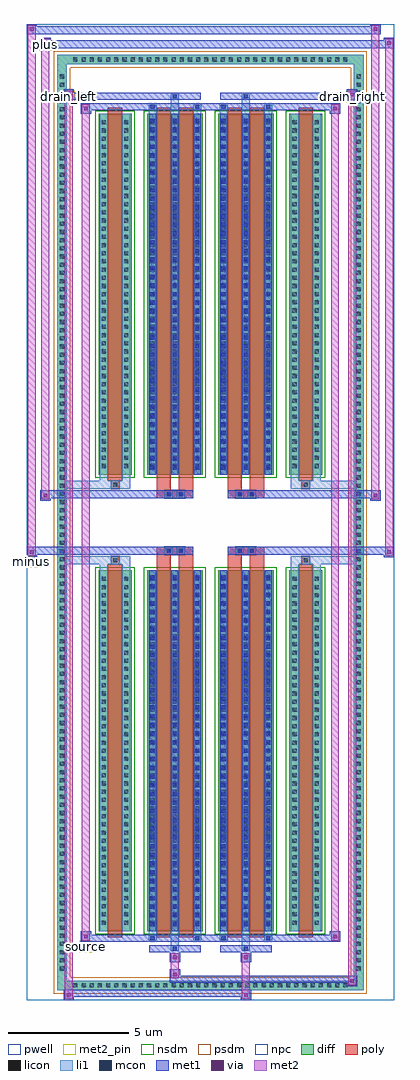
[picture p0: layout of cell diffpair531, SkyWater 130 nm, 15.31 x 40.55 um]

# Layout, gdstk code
import gdstk
lib = gdstk.Library(unit=1e-6, precision=5e-09)
def R(c, l, rs):  # rectangles x0, y0, x1, y1
    for r in rs: c.add(gdstk.rectangle(r[:2], r[2:], *l))
def A(c, l, x, y, w, h, nx, ny, dx, dy):  # array of equal rectangles
    R(c, l, [(x+i*dx, y+j*dy, x+i*dx+w, y+j*dy+h) for i in range(nx) for j in range(ny)])
def P(c, l, *ps):  # polygons
    for p in ps: c.add(gdstk.Polygon(p, *l))
pwell = (64, 44)
diff = (65, 20)
poly = (66, 20)
licon = (66, 44)
li1 = (67, 20)
mcon = (67, 44)
met1 = (68, 20)
via = (68, 44)
met2_pin = (69, 16)
met2 = (69, 20)
nsdm = (93, 44)
psdm = (94, 20)
npc = (95, 20)

diffpair531 = lib.new_cell('diffpair531')
R(diffpair531, pwell, [(-7.64,-19.84,7.64,20.71), (-4.96,-18.03,-0.01,-0.805), (0.01,-18.03,4.96,-0.805), (-4.96,0.805,-0.01,18.03), (0.01,0.805,4.96,18.03)])
A(diffpair531, diff, -5.815, -19.44, 0.41, 0.41, 34, 2, 0.34, 38.47)
A(diffpair531, diff, -6.37, -18.735, 0.41, 0.41, 1, 110, 0, 0.34)
A(diffpair531, diff, 5.96, -18.735, 0.41, 0.41, 1, 110, 0, 0.34)
R(diffpair531, diff, [(-5.815,-19.44,5.815,-19.03), (-6.37,-18.735,-5.96,18.735), (5.96,-18.735,6.37,18.735), (-4.65,-16.985,-3.27,-1.985), (-2.63,-16.985,-0.32,-1.985), (0.32,-16.985,2.63,-1.985), (3.27,-16.985,4.65,-1.985), (-4.65,1.985,-3.27,16.985), (-2.63,1.985,-0.32,16.985), (0.32,1.985,2.63,16.985), (3.27,1.985,4.65,16.985), (-5.815,19.03,5.815,19.44)])
P(diffpair531, diff, [(6.37,19.44),(-6.37,19.44),(-6.37,-19.03),(-5.96,-19.03),(-5.96,19.03),(5.96,19.03),(5.96,-19.03),(-5.96,-19.03),(-6.37,-19.03),(-6.37,-19.44),(6.37,-19.44)])
R(diffpair531, poly, [(-4.26,-17.235,-3.66,-1.735), (-2.24,-17.235,-1.64,-1.735), (-1.31,-17.235,-0.71,-1.735), (0.71,-17.235,1.31,-1.735), (1.64,-17.235,2.24,-1.735), (3.66,-17.235,4.26,-1.735), (-4.125,-1.735,-3.795,-1.405), (-4.125,-1.735,-3.795,-1.405), (-2.24,-1.735,-1.64,-1.335), (-1.31,-1.735,-0.71,-1.335), (0.71,-1.735,1.31,-1.335), (1.64,-1.735,2.24,-1.335), (3.795,-1.735,4.125,-1.405), (3.795,-1.735,4.125,-1.405), (-2.24,-1.335,-0.71,-1.005), (-1.89,-1.335,-1.56,-1.005), (-1.39,-1.335,-1.06,-1.005), (0.71,-1.335,2.24,-1.005), (1.06,-1.335,1.39,-1.005), (1.56,-1.335,1.89,-1.005), (-2.24,1.005,-0.71,1.335), (-1.89,1.005,-1.56,1.335), (-1.39,1.005,-1.06,1.335), (0.71,1.005,2.24,1.335), (1.06,1.005,1.39,1.335), (1.56,1.005,1.89,1.335), (-2.24,1.335,-1.64,1.735), (-1.31,1.335,-0.71,1.735), (0.71,1.335,1.31,1.735), (1.64,1.335,2.24,1.735), (-4.125,1.405,-3.795,1.735), (-4.125,1.405,-3.795,1.735), (3.795,1.405,4.125,1.735), (3.795,1.405,4.125,1.735), (-4.26,1.735,-3.66,17.235), (-2.24,1.735,-1.64,17.235), (-1.31,1.735,-0.71,17.235), (0.71,1.735,1.31,17.235), (1.64,1.735,2.24,17.235), (3.66,1.735,4.26,17.235)])
A(diffpair531, licon, -5.695, -19.32, 0.17, 0.17, 34, 2, 0.34, 38.47)
A(diffpair531, licon, -6.25, -18.615, 0.17, 0.17, 1, 110, 0, 0.34)
A(diffpair531, licon, 6.08, -18.615, 0.17, 0.17, 1, 110, 0, 0.34)
A(diffpair531, licon, -4.51, -16.71, 0.17, 0.17, 1, 43, 0, 0.34)
A(diffpair531, licon, -3.58, -16.71, 0.17, 0.17, 1, 43, 0, 0.34)
A(diffpair531, licon, -2.49, -16.71, 0.17, 0.17, 3, 43, 0.93, 0.34)
A(diffpair531, licon, 0.46, -16.71, 0.17, 0.17, 3, 43, 0.93, 0.34)
A(diffpair531, licon, 3.41, -16.71, 0.17, 0.17, 1, 43, 0, 0.34)
A(diffpair531, licon, 4.34, -16.71, 0.17, 0.17, 1, 43, 0, 0.34)
A(diffpair531, licon, -4.51, 2.26, 0.17, 0.17, 1, 43, 0, 0.34)
A(diffpair531, licon, -3.58, 2.26, 0.17, 0.17, 1, 43, 0, 0.34)
A(diffpair531, licon, -2.49, 2.26, 0.17, 0.17, 3, 43, 0.93, 0.34)
A(diffpair531, licon, 0.46, 2.26, 0.17, 0.17, 3, 43, 0.93, 0.34)
A(diffpair531, licon, 3.41, 2.26, 0.17, 0.17, 1, 43, 0, 0.34)
A(diffpair531, licon, 4.34, 2.26, 0.17, 0.17, 1, 43, 0, 0.34)
R(diffpair531, licon, [(-4.045,-1.655,-3.875,-1.485), (3.875,-1.655,4.045,-1.485), (-1.81,-1.255,-1.64,-1.085), (-1.31,-1.255,-1.14,-1.085), (1.14,-1.255,1.31,-1.085), (1.64,-1.255,1.81,-1.085), (-1.81,1.085,-1.64,1.255), (-1.31,1.085,-1.14,1.255), (1.14,1.085,1.31,1.255), (1.64,1.085,1.81,1.255), (-4.045,1.485,-3.875,1.655), (3.875,1.485,4.045,1.655)])
A(diffpair531, li1, -5.775, -19.4, 0.33, 0.33, 34, 2, 0.34, 38.47)
A(diffpair531, li1, -6.33, -18.695, 0.33, 0.33, 1, 110, 0, 0.34)
A(diffpair531, li1, 6, -18.695, 0.33, 0.33, 1, 110, 0, 0.34)
A(diffpair531, li1, -2.57, -16.985, 0.33, 15, 3, 2, 0.93, 18.97)
A(diffpair531, li1, 0.38, -16.985, 0.33, 15, 3, 2, 0.93, 18.97)
A(diffpair531, li1, -4.59, -16.79, 0.33, 0.33, 1, 43, 0, 0.34)
A(diffpair531, li1, -3.66, -16.79, 0.33, 0.33, 1, 43, 0, 0.34)
A(diffpair531, li1, -2.57, -16.79, 0.33, 0.33, 3, 43, 0.93, 0.34)
A(diffpair531, li1, 0.38, -16.79, 0.33, 0.33, 3, 43, 0.93, 0.34)
A(diffpair531, li1, 3.33, -16.79, 0.33, 0.33, 1, 43, 0, 0.34)
A(diffpair531, li1, 4.26, -16.79, 0.33, 0.33, 1, 43, 0, 0.34)
A(diffpair531, li1, -2.49, -16.77, 0.17, 0.17, 3, 41, 0.93, 0.36)
A(diffpair531, li1, -2.49, -16.77, 0.17, 14.57, 3, 2, 0.93, 18.97)
A(diffpair531, li1, 0.46, -16.77, 0.17, 0.17, 3, 41, 0.93, 0.36)
A(diffpair531, li1, 0.46, -16.77, 0.17, 14.57, 3, 2, 0.93, 18.97)
A(diffpair531, li1, -4.59, 2.18, 0.33, 0.33, 1, 43, 0, 0.34)
A(diffpair531, li1, -3.66, 2.18, 0.33, 0.33, 1, 43, 0, 0.34)
A(diffpair531, li1, -2.57, 2.18, 0.33, 0.33, 3, 43, 0.93, 0.34)
A(diffpair531, li1, 0.38, 2.18, 0.33, 0.33, 3, 43, 0.93, 0.34)
A(diffpair531, li1, 3.33, 2.18, 0.33, 0.33, 1, 43, 0, 0.34)
A(diffpair531, li1, 4.26, 2.18, 0.33, 0.33, 1, 43, 0, 0.34)
A(diffpair531, li1, -2.49, 2.2, 0.17, 0.17, 3, 41, 0.93, 0.36)
A(diffpair531, li1, 0.46, 2.2, 0.17, 0.17, 3, 41, 0.93, 0.36)
R(diffpair531, li1, [(-6.37,-19.44,-5.96,-19.03), (-6.37,-19.44,-5.96,-19.03), (-5.96,-19.44,5.96,-19.03), (5.96,-19.44,6.37,-19.03), (5.96,-19.44,6.37,-19.03), (-6.37,-19.03,-5.96,19.03), (5.96,-19.03,6.37,19.03), (-1.64,-17.79,-1.31,-16.985), (-1.56,-17.79,-1.39,-17.62), (1.31,-17.79,1.64,-16.985), (1.39,-17.79,1.56,-17.62), (-2.57,-17.36,-2.24,-16.985), (-2.49,-17.36,-2.32,-17.19), (-0.71,-17.36,-0.38,-16.985), (-0.63,-17.36,-0.46,-17.19), (0.38,-17.36,0.71,-16.985), (0.46,-17.36,0.63,-17.19), (2.24,-17.36,2.57,-16.985), (2.32,-17.36,2.49,-17.19), (-4.59,-16.985,-4.26,-1.985), (-3.66,-16.985,-3.33,-1.985), (3.33,-16.985,3.66,-1.985), (4.26,-16.985,4.59,-1.985), (-4.59,-1.985,-4.26,-1.405), (-3.66,-1.985,-3.33,-1.405), (3.33,-1.985,3.66,-1.405), (4.26,-1.985,4.59,-1.405), (-6.37,-1.735,-4.125,-1.405), (-4.59,-1.735,-4.125,-1.405), (-4.125,-1.735,-3.795,-1.405), (-3.795,-1.735,-3.33,-1.405), (3.33,-1.735,3.795,-1.405), (3.795,-1.735,4.125,-1.405), (3.795,-1.735,6.37,-1.405), (4.125,-1.735,4.59,-1.405), (-1.89,-1.335,-1.56,-1.005), (-1.39,-1.335,-1.06,-1.005), (1.06,-1.335,1.39,-1.005), (1.56,-1.335,1.89,-1.005), (-1.89,1.005,-1.56,1.335), (-1.39,1.005,-1.06,1.335), (1.06,1.005,1.39,1.335), (1.56,1.005,1.89,1.335), (-6.37,1.405,-4.125,1.735), (-4.59,1.405,-4.125,1.735), (-4.59,1.405,-4.26,1.985), (-4.125,1.405,-3.795,1.735), (-3.795,1.405,-3.33,1.735), (-3.66,1.405,-3.33,1.985), (3.33,1.405,3.795,1.735), (3.33,1.405,3.66,1.985), (3.795,1.405,4.125,1.735), (3.795,1.405,6.37,1.735), (4.125,1.405,4.59,1.735), (4.26,1.405,4.59,1.985), (-4.59,1.985,-4.26,16.985), (-3.66,1.985,-3.33,16.985), (3.33,1.985,3.66,16.985), (4.26,1.985,4.59,16.985), (-2.57,16.985,-2.24,17.36), (-1.64,16.985,-1.31,17.79), (-0.71,16.985,-0.38,17.36), (0.38,16.985,0.71,17.36), (1.31,16.985,1.64,17.79), (2.24,16.985,2.57,17.36), (-2.49,17.19,-2.32,17.36), (-0.63,17.19,-0.46,17.36), (0.46,17.19,0.63,17.36), (2.32,17.19,2.49,17.36), (-1.56,17.62,-1.39,17.79), (1.39,17.62,1.56,17.79), (-6.37,19.03,-5.96,19.44), (-6.37,19.03,-5.96,19.44), (-5.96,19.03,5.96,19.44), (5.96,19.03,6.37,19.44), (5.96,19.03,6.37,19.44)])
A(diffpair531, mcon, -2.49, -16.77, 0.17, 0.17, 3, 41, 0.93, 0.36)
A(diffpair531, mcon, 0.46, -16.77, 0.17, 0.17, 3, 41, 0.93, 0.36)
A(diffpair531, mcon, -2.49, 2.2, 0.17, 0.17, 3, 41, 0.93, 0.36)
A(diffpair531, mcon, 0.46, 2.2, 0.17, 0.17, 3, 41, 0.93, 0.36)
R(diffpair531, mcon, [(-1.56,-17.79,-1.39,-17.62), (1.39,-17.79,1.56,-17.62), (-2.49,-17.36,-2.32,-17.19), (-0.63,-17.36,-0.46,-17.19), (0.46,-17.36,0.63,-17.19), (2.32,-17.36,2.49,-17.19), (-1.81,-1.255,-1.64,-1.085), (-1.31,-1.255,-1.14,-1.085), (1.14,-1.255,1.31,-1.085), (1.64,-1.255,1.81,-1.085), (-1.81,1.085,-1.64,1.255), (-1.31,1.085,-1.14,1.255), (1.14,1.085,1.31,1.255), (1.64,1.085,1.81,1.255), (-2.49,17.19,-2.32,17.36), (-0.63,17.19,-0.46,17.36), (0.46,17.19,0.63,17.36), (2.32,17.19,2.49,17.36), (-1.56,17.62,-1.39,17.79), (1.39,17.62,1.56,17.79)])
A(diffpair531, met1, -2.55, -16.985, 0.29, 15, 3, 2, 0.93, 18.97)
A(diffpair531, met1, 0.4, -16.985, 0.29, 15, 3, 2, 0.93, 18.97)
A(diffpair531, met1, -2.55, -16.83, 0.29, 0.29, 3, 41, 0.93, 0.36)
A(diffpair531, met1, 0.4, -16.83, 0.29, 0.29, 3, 41, 0.93, 0.36)
A(diffpair531, met1, -2.55, 2.14, 0.29, 0.29, 3, 41, 0.93, 0.36)
A(diffpair531, met1, 0.4, 2.14, 0.29, 0.29, 3, 41, 0.93, 0.36)
R(diffpair531, met1, [(-6.1,-19.84,-5.67,-19.41), (1.26,-19.84,1.69,-19.41), (-6.1,-19.7,1.69,-19.41), (5.67,-19.27,6.1,-18.84), (-1.69,-19.13,6.1,-18.84), (-1.69,-18.99,-1.26,-18.56), (-1.69,-18.28,-1.26,-17.85), (1.26,-18.28,1.69,-17.85), (-2.55,-17.85,-0.4,-17.56), (-1.62,-17.85,-1.33,-17.56), (0.4,-17.85,2.55,-17.56), (1.33,-17.85,1.62,-17.56), (-5.39,-17.42,-4.96,-16.99), (-5.39,-17.42,-2.55,-17.13), (-2.55,-17.42,-2.26,-17.13), (-2.55,-17.42,-0.4,-17.13), (-0.69,-17.42,-0.4,-17.13), (-0.4,-17.42,0.4,-17.13), (0.4,-17.42,0.69,-17.13), (0.4,-17.42,2.55,-17.13), (2.26,-17.42,2.55,-17.13), (2.55,-17.42,5.39,-17.13), (4.96,-17.42,5.39,-16.99), (-7.64,-1.435,-7.21,-1.005), (7.21,-1.435,7.64,-1.005), (-7.64,-1.335,-0.71,-1.005), (-2.24,-1.335,-0.71,-1.005), (0.71,-1.335,2.24,-1.005), (0.71,-1.335,7.64,-1.005), (-1.87,-1.315,-1.58,-1.025), (-1.37,-1.315,-1.08,-1.025), (1.08,-1.315,1.37,-1.025), (1.58,-1.315,1.87,-1.025), (-7.07,0.905,-6.64,1.335), (6.64,0.905,7.07,1.335), (-7.07,1.005,-2.24,1.335), (-2.24,1.005,-0.71,1.335), (0.71,1.005,2.24,1.335), (2.24,1.005,7.07,1.335), (-1.87,1.025,-1.58,1.315), (-1.37,1.025,-1.08,1.315), (1.08,1.025,1.37,1.315), (1.58,1.025,1.87,1.315), (-5.39,16.99,-4.96,17.42), (4.96,16.99,5.39,17.42), (-5.39,17.13,-2.55,17.42), (-2.55,17.13,-2.26,17.42), (-2.55,17.13,-0.4,17.42), (-0.69,17.13,-0.4,17.42), (-0.4,17.13,0.4,17.42), (0.4,17.13,0.69,17.42), (0.4,17.13,2.55,17.42), (2.26,17.13,2.55,17.42), (2.55,17.13,5.39,17.42), (-6.1,17.56,-5.67,17.99), (-6.1,17.56,-2.55,17.85), (-2.55,17.56,-0.4,17.85), (-1.62,17.56,-1.33,17.85), (0.4,17.56,2.55,17.85), (1.33,17.56,1.62,17.85), (2.55,17.56,6.1,17.85), (5.67,17.56,6.1,17.99), (-7.07,19.71,-6.64,20.14), (-7.07,19.71,-4.96,20.04), (-4.96,19.71,4.96,20.04), (4.96,19.71,7.64,20.04), (7.21,19.71,7.64,20.14), (-7.64,20.28,-7.21,20.71), (-7.64,20.28,-4.96,20.61), (-4.96,20.28,4.96,20.61), (4.96,20.28,7.07,20.61), (6.64,20.28,7.07,20.71)])
R(diffpair531, via, [(-5.96,-19.7,-5.81,-19.55), (1.4,-19.7,1.55,-19.55), (5.81,-19.13,5.96,-18.98), (-1.55,-18.85,-1.4,-18.7), (-1.55,-18.14,-1.4,-17.99), (1.4,-18.14,1.55,-17.99), (-5.25,-17.28,-5.1,-17.13), (5.1,-17.28,5.25,-17.13), (-7.5,-1.295,-7.35,-1.145), (7.35,-1.295,7.5,-1.145), (-6.93,1.045,-6.78,1.195), (6.78,1.045,6.93,1.195), (-5.25,17.13,-5.1,17.28), (5.1,17.13,5.25,17.28), (-5.96,17.7,-5.81,17.85), (5.81,17.7,5.96,17.85), (-6.93,19.85,-6.78,20), (7.35,19.85,7.5,20), (-7.5,20.42,-7.35,20.57), (6.78,20.42,6.93,20.57)])
R(diffpair531, met2_pin, [(-5.425,-17.87,-4.925,-17.37), (-7.675,-1.885,-7.175,-1.385), (-6.135,17.44,-5.635,17.94), (5.635,17.44,6.135,17.94), (-7.105,19.59,-6.605,20.09)])
R(diffpair531, met2, [(-6.05,-19.79,-5.72,-19.46), (-6.05,-19.79,-5.72,17.94), (1.31,-19.79,1.64,-19.46), (1.31,-19.46,1.64,-18.23), (5.72,-19.22,6.05,-18.89), (5.72,-19.22,6.05,17.94), (-1.64,-18.94,-1.31,-18.61), (-1.64,-18.61,-1.31,-18.23), (-1.64,-18.23,-1.31,-17.9), (1.31,-18.23,1.64,-17.9), (-5.34,-17.37,-5.01,-17.04), (-5.34,-17.37,-5.01,17.37), (5.01,-17.37,5.34,-17.04), (5.01,-17.37,5.34,17.37), (-7.59,-1.385,-7.26,-1.055), (-7.59,-1.385,-7.26,20.66), (7.26,-1.385,7.59,-1.055), (7.26,-1.385,7.59,20.09), (-7.02,0.955,-6.69,1.285), (-7.02,0.955,-6.69,20.09), (6.69,0.955,7.02,1.285), (6.69,0.955,7.02,20.66), (-5.34,17.04,-5.01,17.37), (5.01,17.04,5.34,17.37), (-6.05,17.61,-5.72,17.94), (5.72,17.61,6.05,17.94), (-7.02,19.76,-6.69,20.09), (7.26,19.76,7.59,20.09), (-7.59,20.33,-7.26,20.66), (6.69,20.33,7.02,20.66)])
P(diffpair531, met2, [(7.59,-1.385),(7.59,-1.385),(7.59,-1.055),(7.59,-1.055)],
  [(7.59,19.76),(7.59,19.76),(7.59,20.09),(7.59,20.09)],
  [(-7.26,-1.385),(-7.26,-1.385),(-7.26,-1.055),(-7.26,-1.055)],
  [(-7.26,20.33),(-7.26,20.33),(-7.26,20.66),(-7.26,20.66)],
  [(7.02,0.955),(7.02,0.955),(7.02,1.285),(7.02,1.285)],
  [(7.02,20.33),(7.02,20.33),(7.02,20.66),(7.02,20.66)],
  [(-6.69,0.955),(-6.69,0.955),(-6.69,1.285),(-6.69,1.285)],
  [(-6.69,19.76),(-6.69,19.76),(-6.69,20.09),(-6.69,20.09)],
  [(-5.72,-19.79),(-5.72,-19.79),(-5.72,-19.46),(-5.72,-19.46)],
  [(-5.72,17.61),(-5.72,17.61),(-5.72,17.94),(-5.72,17.94)],
  [(6.05,-19.22),(6.05,-19.22),(6.05,-18.89),(6.05,-18.89)],
  [(6.05,17.61),(6.05,17.61),(6.05,17.94),(6.05,17.94)],
  [(-5.01,-17.37),(-5.01,-17.37),(-5.01,-17.04),(-5.01,-17.04)],
  [(-5.01,17.04),(-5.01,17.04),(-5.01,17.37),(-5.01,17.37)],
  [(5.34,-17.37),(5.34,-17.37),(5.34,-17.04),(5.34,-17.04)],
  [(5.34,17.04),(5.34,17.04),(5.34,17.37),(5.34,17.37)])
R(diffpair531, nsdm, [(-4.78,-17.115,-3.14,-1.855), (-2.76,-17.115,-0.19,-1.855), (0.19,-17.115,2.76,-1.855), (3.14,-17.115,4.78,-1.855), (-4.78,1.855,-3.14,17.115), (-2.76,1.855,-0.19,17.115), (0.19,1.855,2.76,17.115), (3.14,1.855,4.78,17.115)])
P(diffpair531, psdm, [(6.5,19.57),(-6.5,19.57),(-6.5,-18.9),(-5.83,-18.9),(-5.83,18.9),(5.83,18.9),(5.83,-18.9),(-5.83,-18.9),(-6.5,-18.9),(-6.5,-19.57),(6.5,-19.57)])
R(diffpair531, npc, [(-4.145,-1.755,-3.775,-1.385), (3.775,-1.755,4.145,-1.385), (-1.91,-1.355,-1.54,-0.985), (-1.91,-1.355,-1.04,-0.985), (-1.91,-1.355,-1.04,-0.985), (-1.41,-1.355,-1.04,-0.985), (1.04,-1.355,1.41,-0.985), (1.04,-1.355,1.91,-0.985), (1.04,-1.355,1.91,-0.985), (1.54,-1.355,1.91,-0.985), (-1.91,0.985,-1.54,1.355), (-1.91,0.985,-1.04,1.355), (-1.91,0.985,-1.04,1.355), (-1.41,0.985,-1.04,1.355), (1.04,0.985,1.41,1.355), (1.04,0.985,1.91,1.355), (1.04,0.985,1.91,1.355), (1.54,0.985,1.91,1.355), (-4.145,1.385,-3.775,1.755), (3.775,1.385,4.145,1.755)])
diffpair531.add(gdstk.Label('minus', (-7.425,-1.635), layer=69, texttype=5))
diffpair531.add(gdstk.Label('drain_right', (5.885,17.69), layer=69, texttype=5))
diffpair531.add(gdstk.Label('drain_left', (-5.885,17.69), layer=69, texttype=5))
diffpair531.add(gdstk.Label('source', (-5.175,-17.62), layer=69, texttype=5))
diffpair531.add(gdstk.Label('plus', (-6.855,19.84), layer=69, texttype=5))

lib.write_gds('diffpair531.gds')
